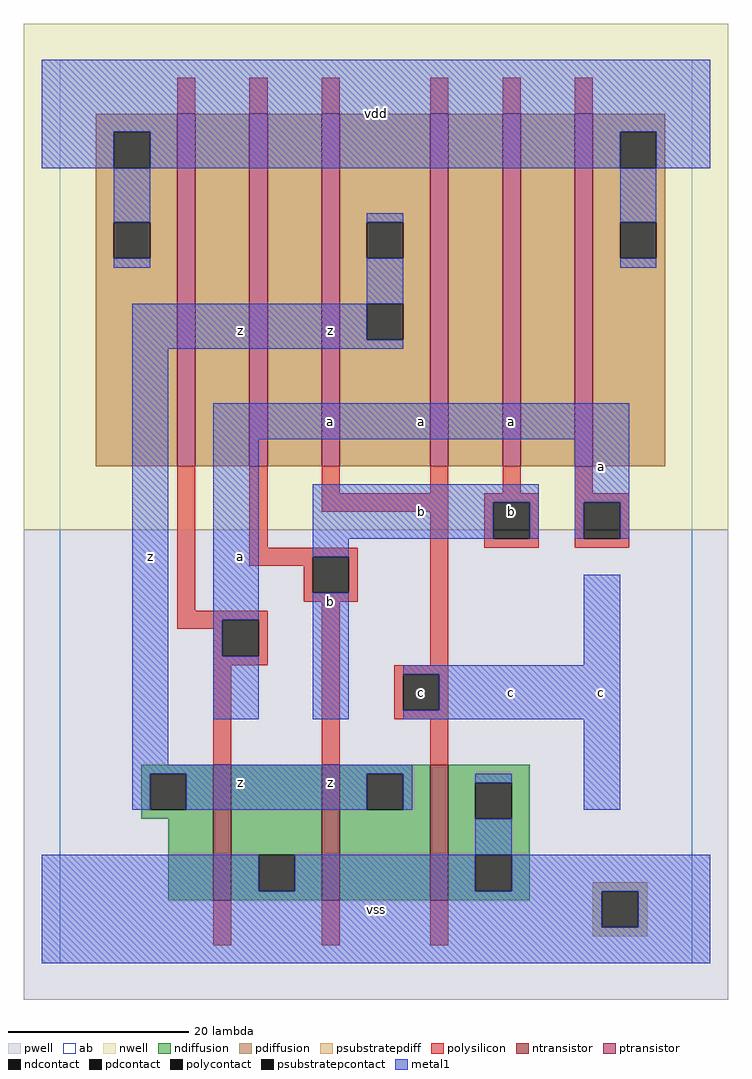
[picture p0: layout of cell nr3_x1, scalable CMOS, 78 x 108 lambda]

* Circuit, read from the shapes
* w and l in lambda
.subckt nr3_x1 a b c vdd vss z
M1 vss a z vss nfet w=15 l=2
M2 z b vss vss nfet w=15 l=2
M3 vss c z vss nfet w=15 l=2
M4 n1 a vdd n2 pfet w=39 l=2
M5 n3 b n1 n2 pfet w=39 l=2
M6 z c n3 n2 pfet w=39 l=2
M7 n4 c z n2 pfet w=39 l=2
M8 n5 b n4 n2 pfet w=39 l=2
M9 vdd a n5 n2 pfet w=39 l=2
.ends

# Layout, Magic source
magic
tech scmos
<< ab >>
rect 0 0 70 100
<< pwell >>
rect -4 -4 74 48
<< nwell >>
rect -4 48 74 104
<< polysilicon >>
rect 13 94 15 98
rect 21 94 23 98
rect 29 94 31 98
rect 41 94 43 98
rect 49 94 51 98
rect 57 94 59 98
rect 13 39 15 55
rect 21 46 23 55
rect 29 52 31 55
rect 41 52 43 55
rect 49 52 51 55
rect 57 52 59 55
rect 29 50 43 52
rect 21 45 33 46
rect 21 44 28 45
rect 27 41 28 44
rect 32 41 33 45
rect 27 40 33 41
rect 13 38 23 39
rect 13 37 18 38
rect 17 34 18 37
rect 22 34 23 38
rect 17 33 23 34
rect 17 22 19 33
rect 29 22 31 40
rect 41 33 43 50
rect 47 51 53 52
rect 47 47 48 51
rect 52 47 53 51
rect 47 46 53 47
rect 57 51 63 52
rect 57 47 58 51
rect 62 47 63 51
rect 57 46 63 47
rect 37 32 43 33
rect 37 28 38 32
rect 42 28 43 32
rect 37 27 43 28
rect 41 22 43 27
rect 17 2 19 7
rect 29 2 31 7
rect 41 2 43 7
<< ndiffusion >>
rect 9 21 17 22
rect 9 17 10 21
rect 14 17 17 21
rect 9 16 17 17
rect 12 7 17 16
rect 19 12 29 22
rect 19 8 22 12
rect 26 8 29 12
rect 19 7 29 8
rect 31 21 41 22
rect 31 17 34 21
rect 38 17 41 21
rect 31 7 41 17
rect 43 20 52 22
rect 43 16 46 20
rect 50 16 52 20
rect 43 12 52 16
rect 43 8 46 12
rect 50 8 52 12
rect 43 7 52 8
<< pdiffusion >>
rect 4 92 13 94
rect 4 88 6 92
rect 10 88 13 92
rect 4 82 13 88
rect 4 78 6 82
rect 10 78 13 82
rect 4 55 13 78
rect 15 55 21 94
rect 23 55 29 94
rect 31 82 41 94
rect 31 78 34 82
rect 38 78 41 82
rect 31 73 41 78
rect 31 69 34 73
rect 38 69 41 73
rect 31 55 41 69
rect 43 55 49 94
rect 51 55 57 94
rect 59 92 67 94
rect 59 88 62 92
rect 66 88 67 92
rect 59 82 67 88
rect 59 78 62 82
rect 66 78 67 82
rect 59 55 67 78
<< metal1 >>
rect -2 92 72 100
rect -2 88 6 92
rect 10 88 62 92
rect 66 88 72 92
rect 6 82 10 88
rect 6 77 10 78
rect 34 82 38 83
rect 34 73 38 78
rect 62 82 66 88
rect 62 77 66 78
rect 8 69 34 73
rect 8 68 38 69
rect 8 22 12 68
rect 17 58 63 62
rect 17 38 22 58
rect 17 34 18 38
rect 17 27 22 34
rect 28 51 53 53
rect 28 47 48 51
rect 52 47 53 51
rect 57 51 63 58
rect 57 47 58 51
rect 62 47 63 51
rect 28 45 32 47
rect 28 27 32 41
rect 58 33 62 43
rect 38 32 62 33
rect 42 28 62 32
rect 38 27 62 28
rect 8 21 39 22
rect 8 17 10 21
rect 14 17 34 21
rect 38 17 39 21
rect 46 20 50 21
rect 58 17 62 27
rect 46 12 50 16
rect -2 8 22 12
rect 26 8 46 12
rect 50 8 72 12
rect -2 4 60 8
rect 64 4 72 8
rect -2 0 72 4
<< ntransistor >>
rect 17 7 19 22
rect 29 7 31 22
rect 41 7 43 22
<< ptransistor >>
rect 13 55 15 94
rect 21 55 23 94
rect 29 55 31 94
rect 41 55 43 94
rect 49 55 51 94
rect 57 55 59 94
<< polycontact >>
rect 28 41 32 45
rect 18 34 22 38
rect 48 47 52 51
rect 58 47 62 51
rect 38 28 42 32
<< ndcontact >>
rect 10 17 14 21
rect 22 8 26 12
rect 34 17 38 21
rect 46 16 50 20
rect 46 8 50 12
<< pdcontact >>
rect 6 88 10 92
rect 6 78 10 82
rect 34 78 38 82
rect 34 69 38 73
rect 62 88 66 92
rect 62 78 66 82
<< psubstratepcontact >>
rect 60 4 64 8
<< psubstratepdiff >>
rect 59 8 65 9
rect 59 4 60 8
rect 64 4 65 8
rect 59 3 65 4
<< labels >>
rlabel metal1 20 20 20 20 6 z
rlabel metal1 10 45 10 45 6 z
rlabel metal1 20 45 20 45 6 a
rlabel metal1 20 70 20 70 6 z
rlabel metal1 35 6 35 6 6 vss
rlabel metal1 30 20 30 20 6 z
rlabel metal1 30 40 30 40 6 b
rlabel metal1 30 60 30 60 6 a
rlabel metal1 30 70 30 70 6 z
rlabel metal1 35 94 35 94 6 vdd
rlabel polycontact 40 30 40 30 6 c
rlabel metal1 50 30 50 30 6 c
rlabel metal1 40 50 40 50 6 b
rlabel polycontact 50 50 50 50 6 b
rlabel metal1 50 60 50 60 6 a
rlabel metal1 40 60 40 60 6 a
rlabel metal1 60 30 60 30 6 c
rlabel metal1 60 55 60 55 6 a
<< end >>
